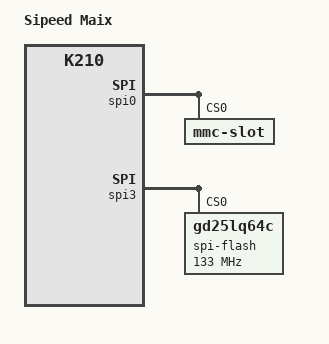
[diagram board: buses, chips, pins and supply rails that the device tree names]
// SPDX-License-Identifier: GPL-2.0+
/*
 * Copyright (C) 2019 Sean Anderson <seanga2@gmail.com>
 */

/dts-v1/;

#include "k210.dtsi"

/ {
	model = "Sipeed Maix";
	compatible = "sipeed,maix", "kendryte,k210";

	chosen {
		bootargs = "console=ttyS0,115200n8 debug loglevel=7";
		stdout-path = "/serial0";
	};
};

&spi0 {
	mmc-slot@0 {
		compatible = "mmc-slot";
		reg = <0>;
		//spi-max-frequency = <???>;
		broken-cd;
	};
};

&spi3 {
	spi-flash@0 {
		compatible = "gd25lq64c";
		reg = <0>;
		spi-max-frequency = <133000000>;
		m25p,fast-read;
	};
};
